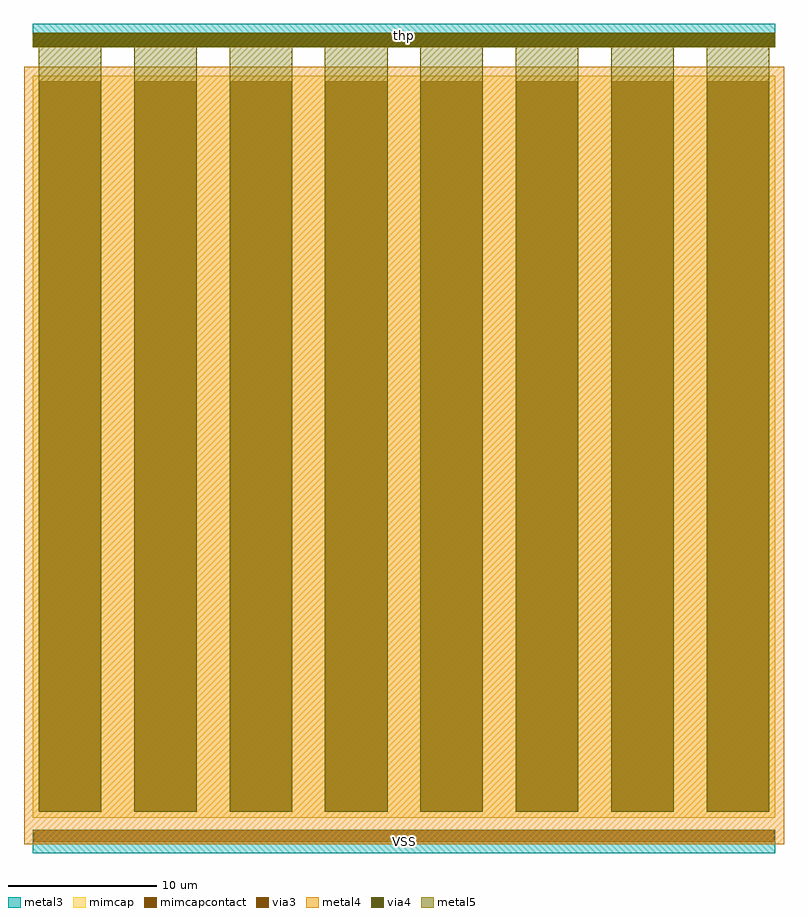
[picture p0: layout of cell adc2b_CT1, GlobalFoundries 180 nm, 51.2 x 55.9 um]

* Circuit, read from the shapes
.subckt adc2b_CT1 thp VSS
XC1 thp VSS cap_mim_2f0fF c_width=50u c_length=50u
.ends

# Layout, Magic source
magic
tech gf180mcuD
magscale 1 10
<< metal3 >>
rect 0 -340 10000 -160
rect 0 10380 10000 10580
rect 0 10380 10000 10700
rect 0 10380 10000 10700
rect 0 -480 10000 -160
rect 0 -480 10000 -160
<< metal4 >>
rect -120 -360 10120 10120
rect 0 -340 10000 -160
rect 0 10380 10000 10580
rect 0 10380 10000 10580
<< mimcap >>
rect 0 0 10000 10000
<< metal5 >>
rect 78 78 922 10480
rect 1364 78 2208 10480
rect 2649 78 3493 10480
rect 3935 78 4779 10480
rect 5220 78 6064 10480
rect 6506 78 7350 10480
rect 7792 78 8636 10480
rect 9077 78 9921 10480
rect 0 10380 10000 10580
rect 0 10380 10000 10580
<< via3 >>
rect 10 -330 9990 -170
rect 10 10390 9990 10570
<< via4 >>
rect 10 10390 9990 10570
<< mimcapcontact >>
rect 78 78 922 9922
rect 1364 78 2208 9922
rect 2649 78 3493 9922
rect 3935 78 4779 9922
rect 5220 78 6064 9922
rect 6506 78 7350 9922
rect 7792 78 8636 9922
rect 9077 78 9921 9922
<< labels >>
flabel metal3 s 0 10380 10000 10700 0 FreeSans 80 0 0 0 thp
port 1 nsew signal bidirectional
flabel metal3 s 0 -480 10000 -160 0 FreeSans 80 0 0 0 VSS
port 2 nsew signal bidirectional
<< end >>
